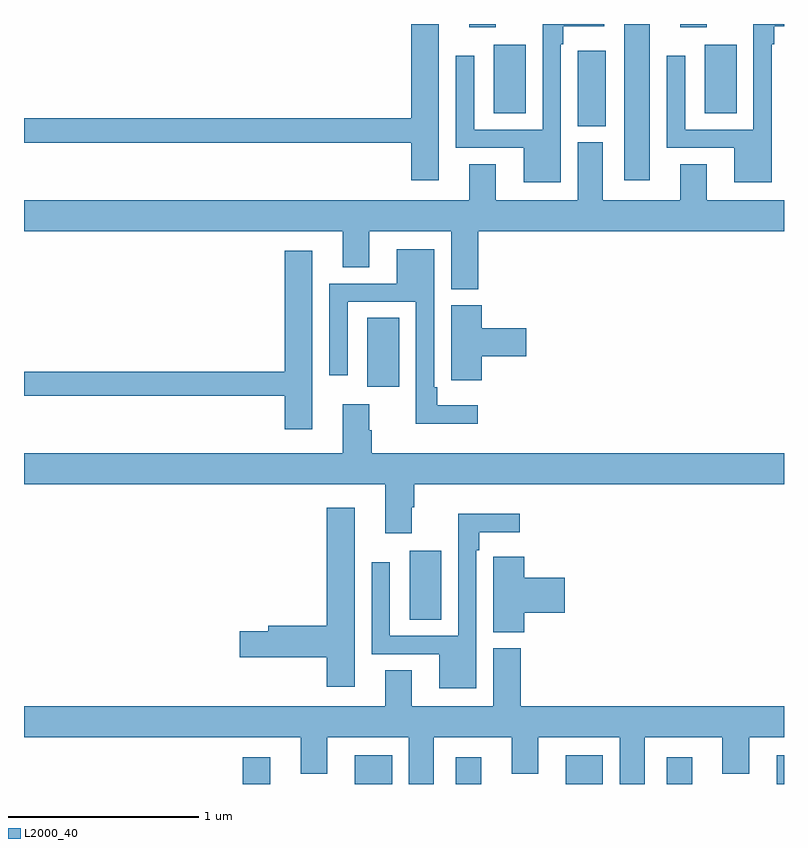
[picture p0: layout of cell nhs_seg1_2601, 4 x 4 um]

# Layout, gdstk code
import gdstk
lib = gdstk.Library(unit=1e-6, precision=1e-09)
def R(c, l, rs):  # rectangles x0, y0, x1, y1
    for r in rs: c.add(gdstk.rectangle(r[:2], r[2:], *l))
def P(c, l, *ps):  # polygons
    for p in ps: c.add(gdstk.Polygon(p, *l))
L2000_40 = (2000, 40)

nhs_seg1_2601 = lib.new_cell('nhs_seg1_2601')
R(nhs_seg1_2601, L2000_40, [(254.15,506.199,254.296,506.341), (254.741,506.199,254.937,506.35), (255.272,506.199,255.406,506.341), (255.851,506.199,256.047,506.35), (256.382,506.199,256.516,506.341), (256.961,506.199,257,506.35), (255.029,507.064,255.196,507.427), (254.807,508.29,254.974,508.652), (256.16,509.376,256.294,510.199), (255.914,509.662,256.063,510.058), (255.473,509.728,255.64,510.091), (256.583,509.728,256.75,510.091), (255.344,510.183,255.484,510.199), (256.454,510.183,256.594,510.199)])
P(nhs_seg1_2601, L2000_40, [(256.935,510.092),(256.948,510.092),(256.948,510.188),(257,510.188),(257,510.199),(256.839,510.199),(256.839,509.643),(256.479,509.643),(256.479,510.031),(256.383,510.031),(256.383,509.547),(256.739,509.547),(256.739,509.366),(256.935,509.366)],
  [(255.184,510.199),(255.038,510.199),(255.038,509.702),(253,509.702),(253,509.574),(255.038,509.574),(255.038,509.376),(255.184,509.376)],
  [(255.825,510.092),(255.838,510.092),(255.838,510.188),(256.054,510.188),(256.054,510.199),(255.729,510.199),(255.729,509.643),(255.369,509.643),(255.369,510.031),(255.273,510.031),(255.273,509.547),(255.629,509.547),(255.629,509.366),(255.825,509.366)],
  [(255.392,509.108),(257,509.108),(257,509.272),(256.594,509.272),(256.594,509.462),(256.454,509.462),(256.454,509.272),(256.045,509.272),(256.045,509.577),(255.914,509.577),(255.914,509.272),(255.484,509.272),(255.484,509.462),(255.344,509.462),(255.344,509.272),(253,509.272),(253,509.108),(254.678,509.108),(254.678,508.918),(254.818,508.918),(254.818,509.108),(255.248,509.108),(255.248,508.804),(255.392,508.804)],
  [(255.388,508.192),(255.175,508.192),(255.175,508.288),(255.159,508.288),(255.159,509.014),(254.963,509.014),(254.963,508.833),(254.607,508.833),(254.607,508.35),(254.703,508.35),(254.703,508.737),(255.063,508.737),(255.063,508.094),(255.388,508.094)],
  [(254.518,509.005),(254.372,509.005),(254.372,508.37),(253,508.37),(253,508.242),(254.372,508.242),(254.372,508.065),(254.518,508.065)],
  [(255.41,508.451),(255.643,508.451),(255.643,508.598),(255.41,508.598),(255.41,508.719),(255.248,508.719),(255.248,508.435),(255.249,508.435),(255.249,508.323),(255.41,508.323)],
  [(255.04,507.656),(255.053,507.656),(255.053,507.776),(257,507.776),(257,507.94),(254.831,507.94),(254.831,508.061),(254.818,508.061),(254.818,508.198),(254.678,508.198),(254.678,507.94),(253,507.94),(253,507.776),(254.9,507.776),(254.9,507.519),(255.04,507.519)],
  [(254.74,507.652),(254.594,507.652),(254.594,507.032),(254.285,507.032),(254.285,507.002),(254.136,507.002),(254.136,506.867),(254.594,506.867),(254.594,506.712),(254.74,506.712)],
  [(255.381,507.428),(255.397,507.428),(255.397,507.524),(255.61,507.524),(255.61,507.622),(255.285,507.622),(255.285,506.979),(254.925,506.979),(254.925,507.367),(254.829,507.367),(254.829,506.883),(255.185,506.883),(255.185,506.702),(255.381,506.702)],
  [(255.632,507.101),(255.847,507.101),(255.847,507.284),(255.632,507.284),(255.632,507.394),(255.471,507.394),(255.471,507.281),(255.47,507.281),(255.47,506.998),(255.632,506.998)],
  [(255.614,506.913),(255.47,506.913),(255.47,506.608),(255.04,506.608),(255.04,506.798),(254.9,506.798),(254.9,506.608),(253,506.608),(253,506.444),(254.456,506.444),(254.456,506.254),(254.596,506.254),(254.596,506.444),(255.026,506.444),(255.026,506.199),(255.157,506.199),(255.157,506.444),(255.566,506.444),(255.566,506.254),(255.706,506.254),(255.706,506.444),(256.136,506.444),(256.136,506.199),(256.267,506.199),(256.267,506.444),(256.676,506.444),(256.676,506.254),(256.816,506.254),(256.816,506.444),(257,506.444),(257,506.608),(255.614,506.608)])

lib.write_gds('nhs_seg1_2601.gds')
